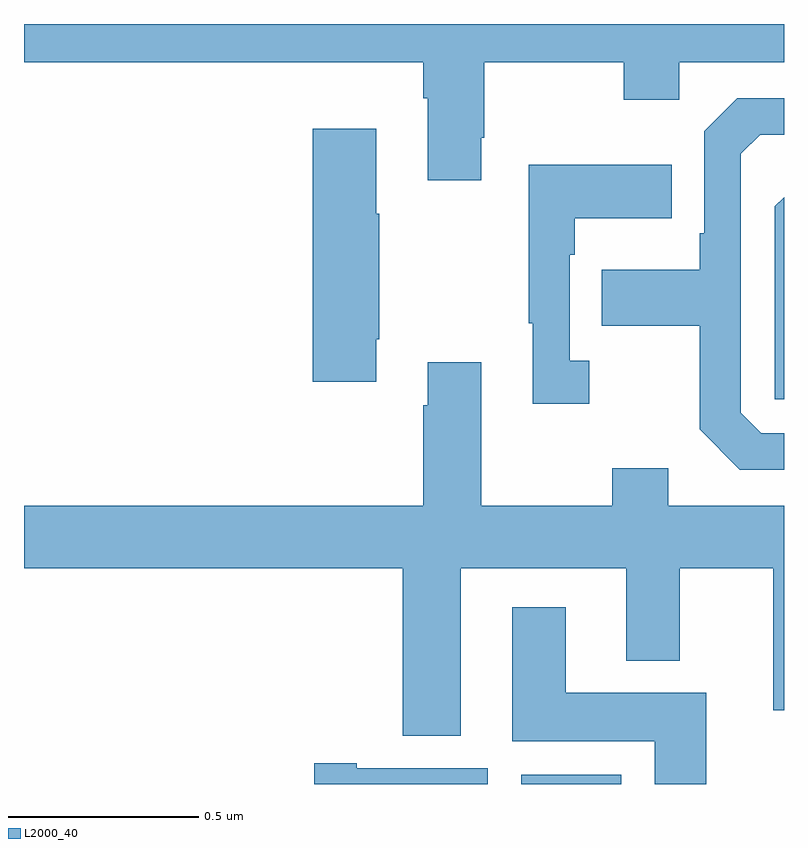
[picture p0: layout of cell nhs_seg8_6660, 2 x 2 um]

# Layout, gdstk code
import gdstk
lib = gdstk.Library(unit=1e-6, precision=1e-09)
def R(c, l, rs):  # rectangles x0, y0, x1, y1
    for r in rs: c.add(gdstk.rectangle(r[:2], r[2:], *l))
def P(c, l, *ps):  # polygons
    for p in ps: c.add(gdstk.Polygon(p, *l))
L2000_40 = (2000, 40)

nhs_seg8_6660 = lib.new_cell('nhs_seg8_6660')
R(nhs_seg8_6660, L2000_40, [(200.309,1147.9,200.572,1147.924)])
P(nhs_seg8_6660, L2000_40, [(200.203,1149.601),(200.211,1149.601),(200.211,1149.8),(200.578,1149.8),(200.578,1149.701),(200.724,1149.701),(200.724,1149.8),(201,1149.8),(201,1149.9),(199,1149.9),(199,1149.8),(200.051,1149.8),(200.051,1149.704),(200.063,1149.704),(200.063,1149.489),(200.203,1149.489)],
  [(201,1148.823),(200.94,1148.823),(200.886,1148.877),(200.886,1149.558),(200.937,1149.609),(201,1149.609),(201,1149.705),(200.877,1149.705),(200.79,1149.618),(200.79,1149.349),(200.778,1149.349),(200.778,1149.253),(200.521,1149.253),(200.521,1149.106),(200.778,1149.106),(200.778,1148.833),(200.883,1148.727),(201,1148.727)],
  [(199.927,1149.07),(199.935,1149.07),(199.935,1149.401),(199.927,1149.401),(199.927,1149.625),(199.76,1149.625),(199.76,1148.958),(199.927,1148.958)],
  [(200.488,1149.014),(200.436,1149.014),(200.436,1149.293),(200.449,1149.293),(200.449,1149.389),(200.705,1149.389),(200.705,1149.529),(200.328,1149.529),(200.328,1149.113),(200.339,1149.113),(200.339,1148.901),(200.488,1148.901)],
  [(201,1149.444),(200.976,1149.42),(200.976,1148.913),(201,1148.913)],
  [(200.149,1148.468),(200.585,1148.468),(200.585,1148.225),(200.725,1148.225),(200.725,1148.468),(200.972,1148.468),(200.972,1148.094),(201,1148.094),(201,1148.632),(200.695,1148.632),(200.695,1148.731),(200.548,1148.731),(200.548,1148.632),(200.203,1148.632),(200.203,1149.01),(200.063,1149.01),(200.063,1148.897),(200.051,1148.897),(200.051,1148.632),(199,1148.632),(199,1148.468),(199.997,1148.468),(199.997,1148.027),(200.149,1148.027)],
  [(200.795,1148.14),(200.425,1148.14),(200.425,1148.365),(200.285,1148.365),(200.285,1148.012),(200.66,1148.012),(200.66,1147.9),(200.795,1147.9)],
  [(200.221,1147.942),(199.876,1147.942),(199.876,1147.955),(199.764,1147.955),(199.764,1147.9),(200.221,1147.9)])

lib.write_gds('nhs_seg8_6660.gds')
